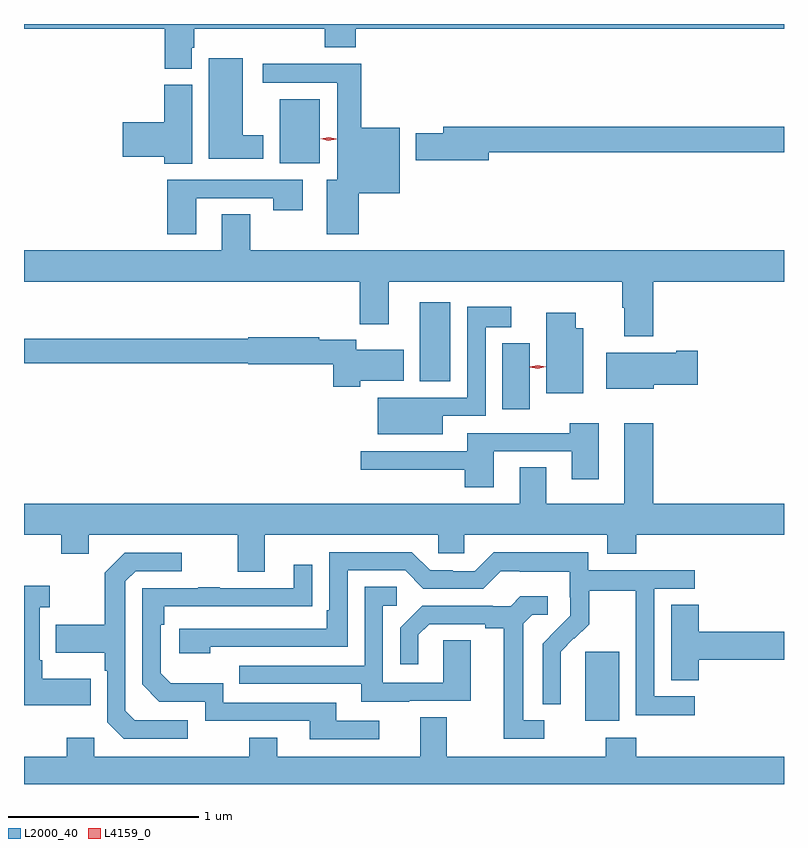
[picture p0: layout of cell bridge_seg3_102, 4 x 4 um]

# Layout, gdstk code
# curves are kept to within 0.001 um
import gdstk
lib = gdstk.Library(unit=1e-6, precision=1e-09)
def R(c, l, rs):  # rectangles x0, y0, x1, y1
    for r in rs: c.add(gdstk.rectangle(r[:2], r[2:], *l))
def P(c, l, *ps):  # polygons
    for p in ps: c.add(gdstk.Polygon(p, *l))
L2000_40 = (2000, 40)
L4159_0 = (4159, 0)

bridge_seg3_102 = lib.new_cell('bridge_seg3_102')
R(bridge_seg3_102, L2000_40, [(627.77,742.562,627.949,742.923), (627.335,744.201,627.478,744.547), (626.9,744.347,627.061,744.763), (626.162,745.496,626.374,745.831)])
P(bridge_seg3_102, L2000_40, [(625.699,746.103),(625.712,746.103),(625.712,746.204),(626.399,746.204),(626.399,746.105),(626.564,746.105),(626.564,746.204),(628.817,746.204),(628.817,746.228),(624.817,746.228),(624.817,746.204),(625.559,746.204),(625.559,745.993),(625.699,745.993)],
  [(626.077,745.642),(625.969,745.642),(625.969,746.047),(625.79,746.047),(625.79,745.52),(626.077,745.52)],
  [(626.578,745.337),(626.794,745.337),(626.794,745.681),(626.591,745.681),(626.591,746.018),(626.073,746.018),(626.073,745.92),(626.465,745.92),(626.465,745.408),(626.411,745.408),(626.411,745.122),(626.578,745.122)],
  [(625.702,745.908),(625.556,745.908),(625.556,745.712),(625.338,745.712),(625.338,745.529),(625.556,745.529),(625.556,745.492),(625.702,745.492)],
  [(627.262,745.552),(628.817,745.552),(628.817,745.688),(627.023,745.688),(627.023,745.652),(626.879,745.652),(626.879,745.51),(627.262,745.51)],
  [(625.723,745.311),(626.128,745.311),(626.128,745.248),(626.284,745.248),(626.284,745.407),(625.571,745.407),(625.571,745.122),(625.723,745.122)],
  [(628.13,744.872),(628.817,744.872),(628.817,745.036),(626.007,745.036),(626.007,745.226),(625.859,745.226),(625.859,745.036),(624.817,745.036),(624.817,744.872),(626.585,744.872),(626.585,744.648),(626.737,744.648),(626.737,744.872),(627.965,744.872),(627.965,744.734),(627.977,744.734),(627.977,744.584),(628.13,744.584)],
  [(627.022,744.165),(627.246,744.165),(627.246,744.632),(627.382,744.632),(627.382,744.739),(627.15,744.739),(627.15,744.261),(626.904,744.261),(626.904,744.262),(626.678,744.262),(626.678,744.068),(627.022,744.068)],
  [(627.76,744.628),(627.721,744.628),(627.721,744.709),(627.566,744.709),(627.566,744.284),(627.76,744.284)],
  [(626.586,744.35),(626.815,744.35),(626.815,744.514),(626.566,744.514),(626.566,744.567),(626.37,744.567),(626.37,744.579),(625.998,744.579),(625.998,744.571),(624.817,744.571),(624.817,744.442),(625.998,744.442),(625.998,744.437),(626.444,744.437),(626.444,744.32),(626.586,744.32)],
  [(628.132,744.329),(628.363,744.329),(628.363,744.507),(628.25,744.507),(628.25,744.499),(627.881,744.499),(627.881,744.308),(628.132,744.308)],
  [(626.083,743.54),(626.997,743.54),(626.997,743.442),(627.135,743.442),(627.135,743.54),(627.887,743.54),(627.887,743.441),(628.04,743.441),(628.04,743.54),(628.817,743.54),(628.817,743.704),(628.13,743.704),(628.13,744.127),(627.977,744.127),(627.977,743.704),(627.565,743.704),(627.565,743.894),(627.425,743.894),(627.425,743.704),(624.817,743.704),(624.817,743.54),(625.012,743.54),(625.012,743.441),(625.159,743.441),(625.159,743.54),(625.943,743.54),(625.943,743.346),(626.083,743.346)],
  [(627.289,743.979),(627.701,743.979),(627.701,743.832),(627.841,743.832),(627.841,744.127),(627.689,744.127),(627.689,744.075),(627.149,744.075),(627.149,743.979),(626.589,743.979),(626.589,743.882),(627.137,743.882),(627.137,743.79),(627.289,743.79)],
  [(628.348,742.689),(628.134,742.689),(628.134,743.256),(628.348,743.256),(628.348,743.352),(627.786,743.352),(627.786,743.449),(627.289,743.449),(627.189,743.349),(627.074,743.349),(627.074,743.352),(626.955,743.352),(626.859,743.448),(626.424,743.448),(626.424,743.143),(626.411,743.143),(626.411,743.046),(625.635,743.046),(625.635,742.916),(625.796,742.916),(625.796,742.95),(626.52,742.95),(626.52,743.352),(626.823,743.352),(626.919,743.256),(627.234,743.256),(627.327,743.349),(627.427,743.349),(627.427,743.345),(627.69,743.345),(627.69,743.211),(627.692,743.211),(627.692,743.114),(627.546,742.966),(627.546,742.648),(627.642,742.648),(627.641,742.925),(627.711,742.995),(627.714,742.992),(627.791,743.069),(627.791,743.244),(628.036,743.244),(628.036,743.02),(628.038,743.02),(628.038,742.591),(628.348,742.591)],
  [(625.678,742.563),(625.401,742.563),(625.35,742.614),(625.35,743.295),(625.404,743.349),(625.648,743.349),(625.648,743.445),(625.347,743.445),(625.242,743.339),(625.242,743.067),(624.985,743.067),(624.985,742.919),(625.242,742.919),(625.242,742.823),(625.254,742.823),(625.254,742.554),(625.341,742.467),(625.678,742.467)],
  [(626.686,742.56),(626.461,742.56),(626.461,742.656),(625.866,742.656),(625.866,742.759),(625.589,742.759),(625.536,742.812),(625.536,743.066),(625.556,743.066),(625.556,743.163),(626.333,743.164),(626.333,743.383),(626.237,743.383),(626.237,743.259),(625.847,743.259),(625.847,743.264),(625.735,743.264),(625.735,743.259),(625.44,743.259),(625.44,742.752),(625.53,742.662),(625.77,742.662),(625.77,742.56),(626.321,742.56),(626.321,742.464),(626.686,742.464)],
  [(625.169,742.783),(624.913,742.783),(624.913,742.879),(624.9,742.879),(624.9,743.159),(624.952,743.159),(624.952,743.272),(624.817,743.272),(624.817,742.643),(625.169,742.643)],
  [(626.845,742.665),(627.169,742.665),(627.169,742.985),(627.024,742.985),(627.024,742.761),(626.706,742.761),(626.706,743.166),(626.779,743.166),(626.779,743.267),(626.61,743.267),(626.61,742.851),(625.951,742.851),(625.951,742.755),(626.591,742.755),(626.591,742.661),(626.845,742.661)],
  [(627.556,742.563),(627.445,742.563),(627.445,743.071),(627.492,743.118),(627.574,743.118),(627.574,743.215),(627.43,743.215),(627.378,743.163),(627.284,743.163),(627.284,743.166),(626.912,743.166),(626.796,743.05),(626.796,742.857),(626.893,742.857),(626.893,743.013),(626.95,743.07),(627.245,743.07),(627.245,743.048),(627.341,743.048),(627.341,742.467),(627.556,742.467)],
  [(628.367,742.883),(628.817,742.883),(628.817,743.03),(628.367,743.03),(628.367,743.171),(628.223,743.171),(628.223,742.774),(628.367,742.774)],
  [(628.817,742.372),(628.04,742.372),(628.04,742.471),(627.88,742.471),(627.88,742.372),(627.043,742.372),(627.043,742.58),(626.903,742.58),(626.903,742.372),(626.149,742.372),(626.149,742.471),(626.002,742.471),(626.002,742.372),(625.188,742.372),(625.188,742.471),(625.042,742.471),(625.042,742.372),(624.817,742.372),(624.817,742.228),(628.817,742.228)])
P(bridge_seg3_102, L4159_0, [(626.419,745.613),(626.379,745.624),(626.379,745.624),(626.379,745.624),(626.42,745.633),(626.46,745.623),(626.46,745.622),(626.46,745.622)],
  [(627.521,744.413),(627.48,744.422),(627.48,744.423),(627.48,744.423),(627.521,744.433),(627.562,744.424),(627.562,744.424),(627.562,744.424)])

lib.write_gds('bridge_seg3_102.gds')
